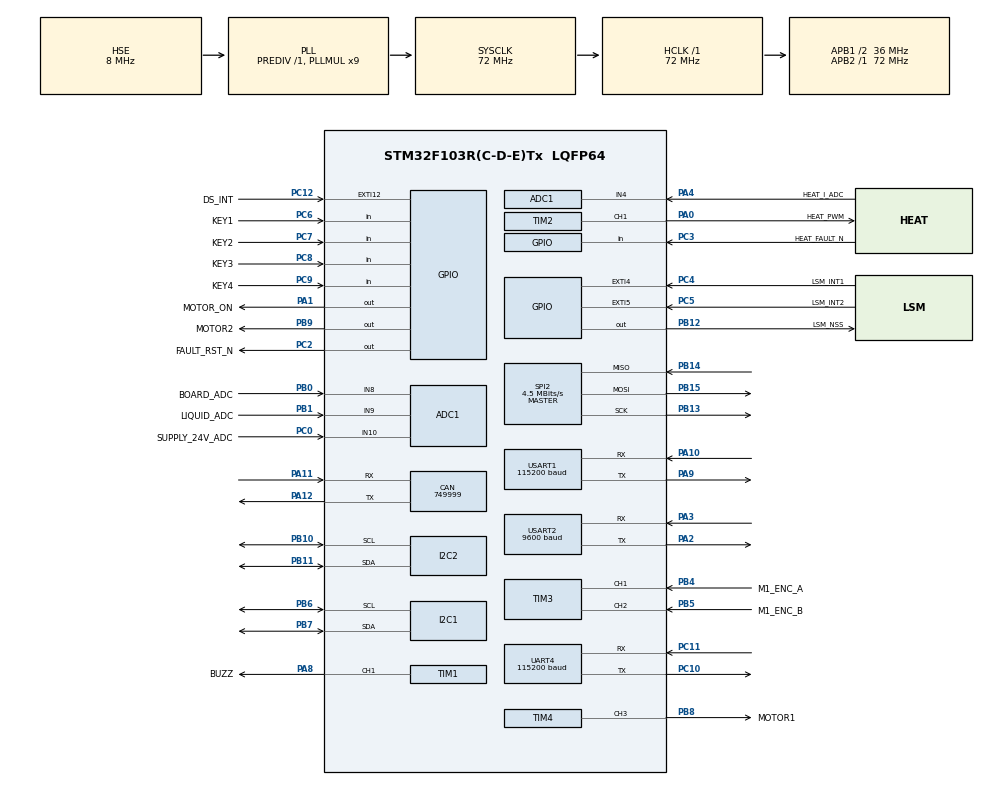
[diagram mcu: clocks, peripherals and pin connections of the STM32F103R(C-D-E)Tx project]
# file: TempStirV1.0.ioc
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ADC1.Channel-0\#ChannelRegularConversion=ADC_CHANNEL_4
ADC1.Channel-1\#ChannelRegularConversion=ADC_CHANNEL_8
ADC1.Channel-2\#ChannelRegularConversion=ADC_CHANNEL_9
ADC1.Channel-3\#ChannelRegularConversion=ADC_CHANNEL_10
ADC1.ContinuousConvMode=ENABLE
ADC1.NbrOfConversionFlag=4
ADC1.Rank-0\#ChannelRegularConversion=1
ADC1.Rank-1\#ChannelRegularConversion=2
ADC1.Rank-2\#ChannelRegularConversion=3
ADC1.Rank-3\#ChannelRegularConversion=4
ADC1.SamplingTime-0\#ChannelRegularConversion=ADC_SAMPLETIME_239CYCLES_5
ADC1.SamplingTime-1\#ChannelRegularConversion=ADC_SAMPLETIME_239CYCLES_5
ADC1.SamplingTime-2\#ChannelRegularConversion=ADC_SAMPLETIME_239CYCLES_5
ADC1.SamplingTime-3\#ChannelRegularConversion=ADC_SAMPLETIME_239CYCLES_5
ADC1.ScanConvMode=ADC_SCAN_DISABLE
ADC1.master=1
CAN.CalculateBaudRate=749999
CAN.CalculateTimeBit=1333
CAN.CalculateTimeQuantum=444.44444444444446
Mcu.Family=STM32F1
Mcu.Name=STM32F103R(C-D-E)Tx
Mcu.Package=LQFP64
NVIC.EXTI15_10_IRQn=true\:6\:0\:true\:false\:true\:true\:true\:true
NVIC.EXTI4_IRQn=true\:6\:0\:true\:false\:true\:true\:true\:true
NVIC.EXTI9_5_IRQn=true\:6\:0\:true\:false\:true\:true\:true\:true
NVIC.PriorityGroup=NVIC_PRIORITYGROUP_4
NVIC.TIM6_IRQn=true\:4\:0\:false\:false\:true\:false\:true\:true
NVIC.TimeBase=TIM6_IRQn
NVIC.TimeBaseIP=TIM6
NVIC.UART4_IRQn=true\:5\:0\:true\:false\:true\:true\:true\:true
NVIC.USART2_IRQn=true\:5\:0\:true\:false\:true\:true\:true\:true
NVIC.USB_LP_CAN1_RX0_IRQn=true\:0\:0\:false\:false\:true\:true\:true\:true
PA0-WKUP.GPIO_Label=HEAT_PWM
PA0-WKUP.Signal=S_TIM2_CH1_ETR
PA1.GPIO_Label=MOTOR_ON
PA1.GPIO_ModeDefaultOutput=GPIO_MODE_OUTPUT_PP
PA1.PinState=GPIO_PIN_RESET
PA1.Signal=GPIO_Output
PA10.GPIO_PuPd=GPIO_PULLUP
PA10.Mode=Asynchronous
PA10.Signal=USART1_RX
PA11.Mode=CAN_Activate
PA11.Signal=CAN_RX
PA12.Mode=CAN_Activate
PA12.Signal=CAN_TX
PA13.Mode=Serial_Wire
PA13.Signal=SYS_JTMS-SWDIO
PA14.Mode=Serial_Wire
PA14.Signal=SYS_JTCK-SWCLK
PA2.Mode=Asynchronous
PA2.Signal=USART2_TX
PA3.GPIO_PuPd=GPIO_PULLUP
PA3.Mode=Asynchronous
PA3.Signal=USART2_RX
PA4.GPIO_Label=HEAT_I_ADC
PA4.Signal=ADCx_IN4
PA8.GPIO_Label=BUZZ
PA8.Signal=S_TIM1_CH1
PA9.Mode=Asynchronous
PA9.Signal=USART1_TX
PB0.GPIO_Label=BOARD_ADC
PB0.Signal=ADCx_IN8
PB1.GPIO_Label=LIQUID_ADC
PB1.Signal=ADCx_IN9
PB10.Mode=I2C
PB10.Signal=I2C2_SCL
PB11.Mode=I2C
PB11.Signal=I2C2_SDA
PB12.GPIO_Label=LSM_NSS
PB12.GPIO_ModeDefaultOutput=GPIO_MODE_OUTPUT_PP
PB12.PinState=GPIO_PIN_SET
PB12.Signal=GPIO_Output
PB13.Mode=Full_Duplex_Master
PB13.Signal=SPI2_SCK
PB14.Mode=Full_Duplex_Master
PB14.Signal=SPI2_MISO
PB15.Mode=Full_Duplex_Master
PB15.Signal=SPI2_MOSI
PB4.GPIO_Label=M1_ENC_A
PB4.GPIO_PuPd=GPIO_PULLUP
PB4.Signal=S_TIM3_CH1
PB5.GPIO_Label=M1_ENC_B
PB5.GPIO_PuPd=GPIO_PULLUP
PB5.Signal=S_TIM3_CH2
PB6.Mode=I2C
PB6.Signal=I2C1_SCL
PB7.Mode=I2C
PB7.Signal=I2C1_SDA
PB8.GPIO_Label=MOTOR1
PB8.Signal=S_TIM4_CH3
PB9.GPIO_Label=MOTOR2
PB9.GPIO_ModeDefaultOutput=GPIO_MODE_OUTPUT_PP
PB9.PinState=GPIO_PIN_RESET
PB9.Signal=GPIO_Output
PC0.GPIO_Label=SUPPLY_24V_ADC
PC0.Signal=ADCx_IN10
PC10.Mode=Asynchronous
PC10.Signal=UART4_TX
PC11.GPIO_PuPd=GPIO_PULLUP
PC11.Mode=Asynchronous
PC11.Signal=UART4_RX
PC12.GPIO_Label=DS_INT
PC12.GPIO_ModeDefaultEXTI=GPIO_MODE_IT_FALLING
PC12.GPIO_PuPd=GPIO_NOPULL
PC12.Signal=GPXTI12
PC2.GPIO_Label=FAULT_RST_N
PC2.GPIO_ModeDefaultOutput=GPIO_MODE_OUTPUT_OD
PC2.PinState=GPIO_PIN_SET
PC2.Signal=GPIO_Output
PC3.GPIO_Label=HEAT_FAULT_N
PC3.GPIO_PuPd=GPIO_NOPULL
PC3.Signal=GPIO_Input
PC4.GPIO_Label=LSM_INT1
PC4.GPIO_ModeDefaultEXTI=GPIO_MODE_IT_RISING
PC4.Signal=GPXTI4
PC5.GPIO_Label=LSM_INT2
PC5.GPIO_ModeDefaultEXTI=GPIO_MODE_IT_RISING
PC5.Signal=GPXTI5
PC6.GPIO_Label=KEY1
PC6.GPIO_PuPd=GPIO_PULLUP
PC6.Signal=GPIO_Input
PC7.GPIO_Label=KEY2
PC7.GPIO_PuPd=GPIO_PULLUP
PC7.Signal=GPIO_Input
PC8.GPIO_Label=KEY3
PC8.GPIO_PuPd=GPIO_PULLUP
PC8.Signal=GPIO_Input
PC9.GPIO_Label=KEY4
PC9.GPIO_PuPd=GPIO_PULLUP
PC9.Signal=GPIO_Input
PD0-OSC_IN.Mode=HSE-External-Oscillator
PD0-OSC_IN.Signal=RCC_OSC_IN
PD1-OSC_OUT.Mode=HSE-External-Oscillator
PD1-OSC_OUT.Signal=RCC_OSC_OUT
ProjectManager.HeapSize=0x200
ProjectManager.StackSize=0x400
ProjectManager.TargetToolchain=MDK-ARM V5.32
RCC.ADCPresc=RCC_ADCPCLK2_DIV6
RCC.AHBFreq_Value=72000000
RCC.APB1CLKDivider=RCC_HCLK_DIV2
RCC.APB1Freq_Value=36000000
RCC.APB1TimFreq_Value=72000000
RCC.APB2Freq_Value=72000000
RCC.APB2TimFreq_Value=72000000
RCC.HCLKFreq_Value=72000000
RCC.PLLMUL=RCC_PLL_MUL9
RCC.PLLSourceVirtual=RCC_PLLSOURCE_HSE
RCC.SYSCLKFreq_VALUE=72000000
RCC.SYSCLKSource=RCC_SYSCLKSOURCE_PLLCLK
RCC.USBFreq_Value=72000000
SH.ADCx_IN10.0=ADC1_IN10,IN10
SH.ADCx_IN4.0=ADC1_IN4,IN4
SH.ADCx_IN8.0=ADC1_IN8,IN8
SH.ADCx_IN9.0=ADC1_IN9,IN9
SH.S_TIM1_CH1.0=TIM1_CH1,PWM Generation1 CH1
SH.S_TIM2_CH1_ETR.0=TIM2_CH1,PWM Generation1 CH1
SH.S_TIM3_CH1.0=TIM3_CH1,Encoder_Interface
SH.S_TIM3_CH2.0=TIM3_CH2,Encoder_Interface
SH.S_TIM4_CH3.0=TIM4_CH3,PWM Generation3 CH3
SPI2.BaudRatePrescaler=SPI_BAUDRATEPRESCALER_8
SPI2.CalculateBaudRate=4.5 MBits/s
SPI2.Direction=SPI_DIRECTION_2LINES
SPI2.Mode=SPI_MODE_MASTER
SPI2.VirtualType=VM_MASTER
SYS.Debug=Serial Wire
TIM1.Channel-PWM\ Generation1\ CH1=TIM_CHANNEL_1
TIM1.Period=17999
TIM2.Channel-PWM\ Generation1\ CH1=TIM_CHANNEL_1
TIM2.Period=999
TIM2.Prescaler=71
TIM3.EncoderMode=TIM_ENCODERMODE_TI12
TIM3.IC1Filter=6
TIM3.IC2Filter=6
TIM4.Channel-PWM\ Generation3\ CH3=TIM_CHANNEL_3
TIM4.Period=3599
UART4.BaudRate=115200
UART4.VirtualMode=Asynchronous
USART1.BaudRate=115200
USART1.VirtualMode=VM_ASYNC
USART2.BaudRate=9600
USART2.VirtualMode=VM_ASYNC
VP_SYS_VS_tim6.Mode=TIM6
VP_TIM1_VS_ClockSourceINT.Mode=Internal
VP_TIM2_VS_ClockSourceINT.Mode=Internal
VP_TIM4_VS_ClockSourceINT.Mode=Internal
board=custom

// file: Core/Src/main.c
/* USER CODE BEGIN Header */
/**
 ******************************************************************************
 * @file           : main.c
 * @brief          : Main program body
 ******************************************************************************
 * @attention
 *
 * Copyright (c) 2026 STMicroelectronics.
 * All rights reserved.
 *
 * This software is licensed under terms that can be found in the LICENSE file
 * in the root directory of this software component.
 * If no LICENSE file comes with this software, it is provided AS-IS.
 *
 ******************************************************************************
 */
/* USER CODE END Header */
#include "main.h"
#include "adc.h"
#include "can.h"
#include "i2c.h"
#include "spi.h"
#include "tim.h"
#include "usart.h"
#include "gpio.h"

/* USER CODE BEGIN Includes */
#include <stdio.h>
#include "FreeRTOS.h"
#include "task.h"
#include "App_Buzzer.h"
#include "App_ADC.h"
#include "App_Encoder.h"
#include "App_Fan.h"
#include "App_Heat.h"
#include "App_Key.h"
#include "App_Motor.h"
#include "App_Oled.h"
#include "App_SysTem.h"
/* USER CODE END Includes */

/* USER CODE BEGIN PD */
/* ===== 临时温度打印测试参数（验证完成后可整段删除） ===== */
#define TEMP_TEST_TASK_STACK    256u   /* 测试任务栈深度（字；含 printf 需留余量） */
#define TEMP_TEST_TASK_PRIO     2u     /* 测试任务优先级（与采集/控制任务同级） */
#define TEMP_TEST_PRINT_MS      1000u  /* 打印周期（ms） */
#define TEMP_TEST_DURATION_S    300u   /* 测试总时长（s）：5 分钟后自动结束并自删除 */
/* USER CODE END PD */

void SystemClock_Config(void);
/* USER CODE BEGIN PFP */
static void TempPrintTask(void *argument);
/* USER CODE END PFP */

int main(void)
{

  /* MCU Configuration--------------------------------------------------------*/

  /* Reset of all peripherals, Initializes the Flash interface and the Systick. */
  HAL_Init();

  /* Configure the system clock */
  SystemClock_Config();

  /* Initialize all configured peripherals */
  MX_GPIO_Init();
  MX_ADC1_Init();
  MX_I2C1_Init();
  MX_I2C2_Init();
  MX_SPI2_Init();
  MX_TIM1_Init();
  MX_TIM2_Init();
  MX_TIM3_Init();
  MX_TIM4_Init();
  MX_UART4_Init();
  MX_USART1_UART_Init();
  MX_USART2_UART_Init();
  MX_CAN_Init();
  /* USER CODE BEGIN 2 */

  /* 系统状态模块初始化：赋安全默认值（须在启动调度器前完成，此时无并发） */
  if (SysTem_Init() != 1u)
  {
    printf("SysState init failed!\r\n");
    Error_Handler();
  }

  /* 蜂鸣器模块初始化：创建鸣叫命令队列与蜂鸣器任务（须在启动调度器前完成） */
  if (Buzzer_Init() != 1u)
  {
    printf("Buzzer init failed!\r\n");
    Error_Handler();
  }

  /* 风扇模块初始化：使能脚 PA1 置为低电平 + 创建状态联动任务
   * （系统运行 → 风扇启动，空闲/故障 → 风扇停止，须在启动调度器前完成） */
  if (Fan_Init() != 1u)
  {
    printf("Fan init failed!\r\n");
    Error_Handler();
  }

  /* 电机模块初始化：IN2 锁定低电平（仅正转），TIM4_CH3 输出 0% 占空比 +
   * 创建 PID 转速闭环任务（系统 RUN → 按目标转速闭环调速，IDLE/FAULT →
   * 停机；须在 MX_TIM4_Init 之后调用） */
  if (Motor_Init() != 1u)
  {
    printf("Motor init failed!\r\n");
    Error_Handler();
  }

  /* 编码器模块初始化：启动 TIM3 正交编码器（×4 解码）+ 创建 100ms 测速任务
   * （结果自动写入 SysTem 的 CurrentRPM，须在 MX_TIM3_Init 之后调用） */
  if (Encoder_Init() != 1u)
  {
    printf("Encoder init failed!\r\n");
    Error_Handler();
  }

  /* 温度采集模块初始化：ADC 自校准 + 创建采集任务（200ms 周期采集板温/水温，
   * 水温自动写入 SysTem 的 CurrentTemp；须在 MX_ADC1_Init 之后调用） */
  if (Adc_Init() != 1u)
  {
    printf("Adc init failed!\r\n");
    Error_Handler();
  }

  /* 加热模块初始化：清除硬件故障锁存、TIM2_CH1 输出 0% 占空比（不加热）+
   * 创建 PID 温度闭环任务（系统 RUN → 按目标水温闭环加热，IDLE/FAULT →
   * 停止；内置探头故障/超温/硬件锁存三重保护；须在 MX_TIM2_Init 之后调用） */
  if (Heat_Init() != 1u)
  {
    printf("Heat init failed!\r\n");
    Error_Handler();
  }

  /* OLED 模块初始化：点亮屏幕并显示系统状态 UI（阻塞式 I2C，须在启动调度器前完成） */
  if (Oled_Init() != 1u)
  {
    printf("Oled init failed!\r\n");
    Error_Handler();
  }

  /* 按键模块初始化：创建按键扫描任务（须在启动调度器前完成） */
  if (Key_Init() != 1u)
  {
    printf("Key init failed!\r\n");
    Error_Handler();
  }

  /* ===== 临时温度打印测试任务（验证完成后删除本段及 TempPrintTask 实现） ===== */
  if (xTaskCreate(TempPrintTask, "TempPrint", TEMP_TEST_TASK_STACK, NULL,
                  TEMP_TEST_TASK_PRIO, NULL) != pdPASS)
  {
    printf("Temp print task create failed!\r\n");
  }

  /* 在此创建其余业务任务，然后启动 FreeRTOS 调度器，此后代码不再返回 */
  vTaskStartScheduler();

  /* 只有调度器启动失败（如堆内存不足）才会执行到这里 */
  printf("FreeRTOS scheduler start failed!\r\n");
  Error_Handler();

  /* USER CODE END 2 */

  /* Infinite loop */
  while (1)
  {

  }
}

void SystemClock_Config(void)
{
  RCC_OscInitTypeDef RCC_OscInitStruct = {0};
  RCC_ClkInitTypeDef RCC_ClkInitStruct = {0};
  RCC_PeriphCLKInitTypeDef PeriphClkInit = {0};

  /** Initializes the RCC Oscillators according to the specified parameters
   * in the RCC_OscInitTypeDef structure.
   */
  RCC_OscInitStruct.OscillatorType = RCC_OSCILLATORTYPE_HSE;
  RCC_OscInitStruct.HSEState = RCC_HSE_ON;
  RCC_OscInitStruct.HSEPredivValue = RCC_HSE_PREDIV_DIV1;
  RCC_OscInitStruct.HSIState = RCC_HSI_ON;
  RCC_OscInitStruct.PLL.PLLState = RCC_PLL_ON;
  RCC_OscInitStruct.PLL.PLLSource = RCC_PLLSOURCE_HSE;
  RCC_OscInitStruct.PLL.PLLMUL = RCC_PLL_MUL9;
  if (HAL_RCC_OscConfig(&RCC_OscInitStruct) != HAL_OK)
  {
    Error_Handler();
  }

  /** Initializes the CPU, AHB and APB buses clocks
   */
  RCC_ClkInitStruct.ClockType = RCC_CLOCKTYPE_HCLK | RCC_CLOCKTYPE_SYSCLK | RCC_CLOCKTYPE_PCLK1 | RCC_CLOCKTYPE_PCLK2;
  RCC_ClkInitStruct.SYSCLKSource = RCC_SYSCLKSOURCE_PLLCLK;
  RCC_ClkInitStruct.AHBCLKDivider = RCC_SYSCLK_DIV1;
  RCC_ClkInitStruct.APB1CLKDivider = RCC_HCLK_DIV2;
  RCC_ClkInitStruct.APB2CLKDivider = RCC_HCLK_DIV1;

  if (HAL_RCC_ClockConfig(&RCC_ClkInitStruct, FLASH_LATENCY_2) != HAL_OK)
  {
    Error_Handler();
  }
  PeriphClkInit.PeriphClockSelection = RCC_PERIPHCLK_ADC;
  PeriphClkInit.AdcClockSelection = RCC_ADCPCLK2_DIV6;
  if (HAL_RCCEx_PeriphCLKConfig(&PeriphClkInit) != HAL_OK)
  {
    Error_Handler();
  }
}

/* USER CODE BEGIN 4 */
/**
 * @brief  栈溢出钩子函数（FreeRTOSConfig.h 中 configCHECK_FOR_STACK_OVERFLOW=2 时必需）
 * @note   FreeRTOS 在任务切换时检测到任务栈溢出会调用此函数；
 *         此处通过 USART1 打印溢出的任务名后停机，便于定位问题。
 * @param  xTask    发生溢出的任务句柄
 * @param  pcTaskName 发生溢出的任务名
 * @retval 无
 */
void vApplicationStackOverflowHook(TaskHandle_t xTask, char *pcTaskName)
{
  (void)xTask;
  printf("[ERROR] Stack overflow in task: %s\r\n", pcTaskName);
  taskDISABLE_INTERRUPTS();
  for (;;)
  {
  }
}

/**
 * @brief  堆内存分配失败钩子函数（FreeRTOSConfig.h 中 configUSE_MALLOC_FAILED_HOOK=1 时必需）
 * @note   FreeRTOS 内核调用 pvPortMalloc 分配失败（如 FreeRTOS 堆 24KB 用尽）会调用此函数；
 *         此处打印提示后停机，便于发现堆配置过小的问题。
 * @retval 无
 */
void vApplicationMallocFailedHook(void)
{
  printf("[ERROR] FreeRTOS heap malloc failed!\r\n");
  taskDISABLE_INTERRUPTS();
  for (;;)
  {
  }
}

/**
 * @brief  临时温度打印辅助：格式化单个温度（保留 1 位小数，支持负温）
 * @param  name   通道名（"board"/"water"）
 * @param  temp   温度（℃）
 * @retval 无（直接 printf 输出，不换行）
 */
static void TempPrintOne(const char *name, float temp)
{
  int32_t t10 = (int32_t)(temp * 10.0f + ((temp >= 0.0f) ? 0.5f : -0.5f));

  if (t10 < 0)
  {
    printf("%s=-%d.%uC ", name, (int)((-t10) / 10), (unsigned int)((-t10) % 10));
  }
  else
  {
    printf("%s=%d.%uC ", name, (int)(t10 / 10), (unsigned int)(t10 % 10));
  }
}

/**
 * @brief  临时温度打印测试任务：周期打印板温/水温及传感器故障标志
 * @note   数据来自 App_ADC 模块的滤波后读数（与 SysTem 的 CurrentTemp
 *         同源），本任务只读不写。printf 用整数格式（%d/%u）拆分小数，
 *         不用 %f，避免浮点打印依赖。
 *         运行 TEMP_TEST_DURATION_S 后打印结束提示并自删除任务；
 *         期间水温传感器若断线/短路，fault 位会置 1 且温度保持最后有效值。
 *         验证完成后删除本函数、TempPrintOne、PFP 原型、PD 宏与 main()
 *         中的创建语句即可，不影响 App_ADC 模块本身。
 * @param  argument 未使用
 * @retval 无（时间到后任务自我删除）
 */
static void TempPrintTask(void *argument)
{
  uint32_t i;

  (void)argument;

  printf("\r\n===== Temp print test: %us, every %ums =====\r\n",
         (unsigned int)TEMP_TEST_DURATION_S, (unsigned int)TEMP_TEST_PRINT_MS);

  for (i = 0u; i < TEMP_TEST_DURATION_S; i++)
  {
    vTaskDelay(pdMS_TO_TICKS(TEMP_TEST_PRINT_MS));

    printf("[Temp] ");
    TempPrintOne("board", Adc_GetBoardTempC());
    TempPrintOne("water", Adc_GetWaterTempC());
    printf("raw(b/w)=%u/%u fault(b/w)=%u/%u\r\n",
           (unsigned int)Adc_GetBoardRaw(), (unsigned int)Adc_GetWaterRaw(),
           (unsigned int)Adc_GetBoardFault(), (unsigned int)Adc_GetWaterFault());
  }

  printf("[Temp] test finished, task deleted.\r\n");
  vTaskDelete(NULL);
}
/* USER CODE END 4 */

void HAL_TIM_PeriodElapsedCallback(TIM_HandleTypeDef *htim)
{
  if (htim->Instance == TIM6)
  {
    HAL_IncTick();
  }
}

void Error_Handler(void)
{
  __disable_irq();
  while (1)
  {
  }
}
